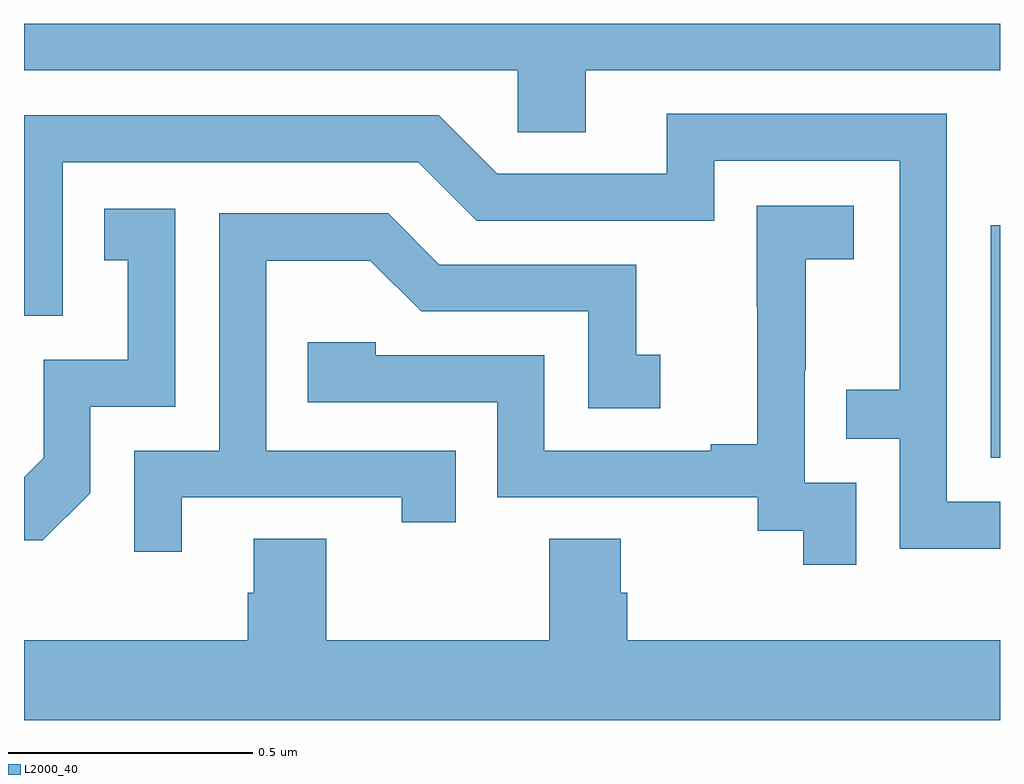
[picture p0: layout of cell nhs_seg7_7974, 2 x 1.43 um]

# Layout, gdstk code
import gdstk
lib = gdstk.Library(unit=1e-6, precision=1e-09)
def R(c, l, rs):  # rectangles x0, y0, x1, y1
    for r in rs: c.add(gdstk.rectangle(r[:2], r[2:], *l))
def P(c, l, *ps):  # polygons
    for p in ps: c.add(gdstk.Polygon(p, *l))
L2000_40 = (2000, 40)

nhs_seg7_7974 = lib.new_cell('nhs_seg7_7974')
R(nhs_seg7_7974, L2000_40, [(219.981,1045.11,220,1045.587)])
P(nhs_seg7_7974, L2000_40, [(219.151,1045.904),(220,1045.904),(220,1046),(218,1046),(218,1045.904),(219.012,1045.904),(219.012,1045.777),(219.151,1045.777)],
  [(220,1045.02),(219.891,1045.02),(219.891,1045.815),(219.317,1045.815),(219.317,1045.692),(218.97,1045.692),(218.85,1045.812),(218,1045.812),(218,1045.401),(218.079,1045.401),(218.079,1045.716),(218.808,1045.716),(218.928,1045.596),(219.414,1045.596),(219.414,1045.719),(219.795,1045.719),(219.795,1045.25),(219.685,1045.25),(219.685,1045.149),(219.795,1045.149),(219.795,1044.924),(220,1044.924)],
  [(219.705,1045.059),(219.6,1045.059),(219.6,1045.289),(219.602,1045.289),(219.602,1045.517),(219.7,1045.517),(219.7,1045.627),(219.502,1045.627),(219.502,1045.421),(219.503,1045.421),(219.503,1045.138),(219.407,1045.138),(219.407,1045.125),(219.066,1045.125),(219.066,1045.32),(218.721,1045.32),(218.721,1045.347),(218.581,1045.347),(218.581,1045.224),(218.97,1045.224),(218.97,1045.029),(219.504,1045.029),(219.504,1044.961),(219.597,1044.961),(219.597,1044.891),(219.705,1044.891)],
  [(218.136,1045.038),(218.136,1045.215),(218.31,1045.215),(218.31,1045.621),(218.164,1045.621),(218.164,1045.515),(218.213,1045.515),(218.213,1045.311),(218.04,1045.311),(218.04,1045.11),(218,1045.07),(218,1044.941),(218.038,1044.941)],
  [(218.323,1045.029),(218.774,1045.029),(218.774,1044.978),(218.885,1044.978),(218.885,1045.125),(218.496,1045.125),(218.496,1045.514),(218.71,1045.514),(218.814,1045.41),(219.156,1045.41),(219.156,1045.212),(219.304,1045.212),(219.304,1045.321),(219.255,1045.321),(219.255,1045.506),(218.851,1045.506),(218.746,1045.611),(218.4,1045.611),(218.4,1045.125),(218.226,1045.125),(218.226,1044.918),(218.323,1044.918)],
  [(220,1044.736),(219.236,1044.736),(219.236,1044.834),(219.223,1044.834),(219.223,1044.944),(219.076,1044.944),(219.076,1044.736),(218.619,1044.736),(218.619,1044.944),(218.471,1044.944),(218.471,1044.834),(218.459,1044.834),(218.459,1044.736),(218,1044.736),(218,1044.572),(220,1044.572)])

lib.write_gds('nhs_seg7_7974.gds')
